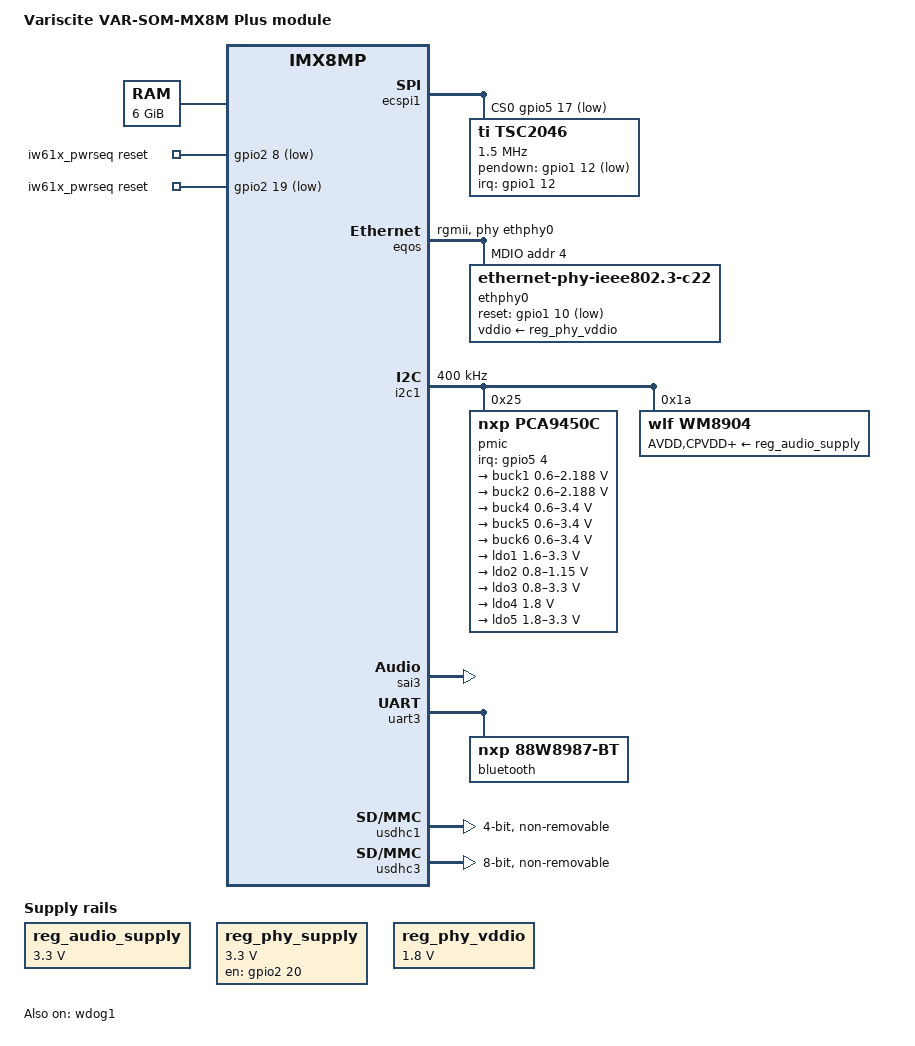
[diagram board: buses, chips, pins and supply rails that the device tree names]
// SPDX-License-Identifier: (GPL-2.0+ OR MIT)
/*
 * Copyright 2024 Variscite Ltd.
 *
 * Author: Tarang Raval <tarang.raval@siliconsignals.io>
 */

/dts-v1/;

#include <dt-bindings/phy/phy-imx8-pcie.h>
#include <dt-bindings/leds/common.h>
#include <dt-bindings/usb/pd.h>
#include "imx8mp.dtsi"

/ {
	model = "Variscite VAR-SOM-MX8M Plus module";

	memory@40000000 {
		device_type = "memory";
		reg = <0x0 0x40000000 0 0xc0000000>,
		      <0x1 0x00000000 0 0xc0000000>;
	};

	iw61x_pwrseq: wifi-pwrseq {
		compatible = "mmc-pwrseq-simple";
		post-power-on-delay-ms = <100>;
		power-off-delay-us = <10000>;
		reset-gpios = <&gpio2 8 GPIO_ACTIVE_LOW>, /* WIFI_RESET */
			      <&gpio2 19 GPIO_ACTIVE_LOW>; /* WIFI_PWR_EN */
	};

	reg_audio_supply: regulator-3p3v {
		compatible = "regulator-fixed";
		regulator-name = "wm8904-supply";
		regulator-min-microvolt = <3300000>;
		regulator-max-microvolt = <3300000>;
		regulator-always-on;
	};

	reg_phy_supply: regulator-phy-supply {
		compatible = "regulator-fixed";
		regulator-name = "phy-supply";
		regulator-min-microvolt = <3300000>;
		regulator-max-microvolt = <3300000>;
		regulator-enable-ramp-delay = <20000>;
		gpio = <&gpio2 20 GPIO_ACTIVE_HIGH>;
		enable-active-high;
		regulator-always-on;
	};

	reg_phy_vddio: regulator-phy-vddio {
		compatible = "regulator-fixed";
		regulator-name = "vddio-1v8";
		regulator-min-microvolt = <1800000>;
		regulator-max-microvolt = <1800000>;
	};

	sound {
		compatible = "simple-audio-card";
		simple-audio-card,bitclock-master = <&codec_dai>;
		simple-audio-card,format = "i2s";
		simple-audio-card,frame-master = <&codec_dai>;
		simple-audio-card,mclk-fs = <256>;
		simple-audio-card,name = "wm8904-audio";
		simple-audio-card,routing =
			"Headphone Jack", "HPOUTL",
			"Headphone Jack", "HPOUTR",
			"IN2L", "Line In Jack",
			"IN2R", "Line In Jack",
			"IN1L", "Microphone Jack",
			"IN1R", "Microphone Jack";
		simple-audio-card,widgets =
			"Microphone", "Microphone Jack",
			"Headphone", "Headphone Jack",
			"Line", "Line In Jack";

		codec_dai: simple-audio-card,codec {
			sound-dai = <&wm8904>;
		};

		simple-audio-card,cpu {
			sound-dai = <&sai3>;
		};
	};
};

&A53_0 {
	cpu-supply = <&buck2>;
};

&A53_1 {
	cpu-supply = <&buck2>;
};

&A53_2 {
	cpu-supply = <&buck2>;
};

&A53_3 {
	cpu-supply = <&buck2>;
};

&ecspi1 {
	pinctrl-names = "default";
	pinctrl-0 = <&pinctrl_ecspi1>;
	cs-gpios = <&gpio5 17 GPIO_ACTIVE_LOW>;
	status = "okay";

	/* Resistive touch controller */
	tsc2046: touchscreen@0 {
		compatible = "ti,tsc2046";
		reg = <0>;
		pinctrl-names = "default";
		pinctrl-0 = <&pinctrl_restouch>;
		interrupt-parent = <&gpio1>;
		interrupts = <12 IRQ_TYPE_EDGE_FALLING>;
		spi-max-frequency = <1500000>;
		pendown-gpio = <&gpio1 12 GPIO_ACTIVE_LOW>;
		ti,x-min = /bits/ 16 <125>;
		ti,x-max = /bits/ 16 <4008>;
		ti,y-min = /bits/ 16 <282>;
		ti,y-max = /bits/ 16 <3864>;
		ti,x-plate-ohms = /bits/ 16 <180>;
		ti,pressure-max = /bits/ 16 <255>;
		ti,debounce-max = /bits/ 16 <10>;
		ti,debounce-tol = /bits/ 16 <3>;
		ti,debounce-rep = /bits/ 16 <1>;
		ti,settle-delay-usec = /bits/ 16 <150>;
		ti,keep-vref-on;
		wakeup-source;
	};
};

&eqos {
	pinctrl-names = "default";
	pinctrl-0 = <&pinctrl_eqos>;
	/*
	 * The required RGMII TX and RX 2ns delays are implemented directly
	 * in hardware via passive delay elements on the SOM PCB.
	 * No delay configuration is needed in software via PHY driver.
	 */
	phy-mode = "rgmii";
	phy-handle = <&ethphy0>;
	status = "okay";

	mdio {
		compatible = "snps,dwmac-mdio";
		#address-cells = <1>;
		#size-cells = <0>;

		ethphy0: ethernet-phy@4 {
			compatible = "ethernet-phy-ieee802.3-c22";
			reg = <4>;
			reset-gpios = <&gpio1 10 GPIO_ACTIVE_LOW>;
			reset-assert-us = <10000>;
			reset-deassert-us = <100000>;
			vddio-supply = <&reg_phy_vddio>;

			leds {
				#address-cells = <1>;
				#size-cells = <0>;

				led@0 {
					reg = <0>;
					color = <LED_COLOR_ID_YELLOW>;
					function = LED_FUNCTION_LAN;
					linux,default-trigger = "netdev";
				};

				led@1 {
					reg = <1>;
					color = <LED_COLOR_ID_GREEN>;
					function = LED_FUNCTION_LAN;
					linux,default-trigger = "netdev";
				};
			};
		};
	};
};

&i2c1 {
	clock-frequency = <400000>;
	pinctrl-names = "default";
	pinctrl-0 = <&pinctrl_i2c1>;
	status = "okay";

	pmic@25 {
		compatible = "nxp,pca9450c";
		reg = <0x25>;
		pinctrl-names = "default";
		pinctrl-0 = <&pinctrl_pmic>;
		interrupt-parent = <&gpio5>;
		interrupts = <4 IRQ_TYPE_LEVEL_LOW>;

		regulators {
			buck1: BUCK1 {
				regulator-name = "BUCK1";
				regulator-min-microvolt = <600000>;
				regulator-max-microvolt = <2187500>;
				regulator-boot-on;
				regulator-always-on;
				regulator-ramp-delay = <3125>;
			};

			buck2: BUCK2 {
				regulator-name = "BUCK2";
				regulator-min-microvolt = <600000>;
				regulator-max-microvolt = <2187500>;
				regulator-boot-on;
				regulator-always-on;
				regulator-ramp-delay = <3125>;
				nxp,dvs-run-voltage = <950000>;
				nxp,dvs-standby-voltage = <850000>;
			};

			buck4: BUCK4 {
				regulator-name = "BUCK4";
				regulator-min-microvolt = <600000>;
				regulator-max-microvolt = <3400000>;
				regulator-boot-on;
				regulator-always-on;
			};

			buck5: BUCK5 {
				regulator-name = "BUCK5";
				regulator-min-microvolt = <600000>;
				regulator-max-microvolt = <3400000>;
				regulator-boot-on;
				regulator-always-on;
			};

			buck6: BUCK6 {
				regulator-name = "BUCK6";
				regulator-min-microvolt = <600000>;
				regulator-max-microvolt = <3400000>;
				regulator-boot-on;
				regulator-always-on;
			};

			ldo1: LDO1 {
				regulator-name = "LDO1";
				regulator-min-microvolt = <1600000>;
				regulator-max-microvolt = <3300000>;
				regulator-boot-on;
				regulator-always-on;
			};

			ldo2: LDO2 {
				regulator-name = "LDO2";
				regulator-min-microvolt = <800000>;
				regulator-max-microvolt = <1150000>;
				regulator-boot-on;
				regulator-always-on;
			};

			ldo3: LDO3 {
				regulator-name = "LDO3";
				regulator-min-microvolt = <800000>;
				regulator-max-microvolt = <3300000>;
				regulator-boot-on;
				regulator-always-on;
			};

			ldo4: LDO4 {
				regulator-name = "LDO4";
				regulator-min-microvolt = <1800000>;
				regulator-max-microvolt = <1800000>;
				regulator-always-on;
			};

			ldo5: LDO5 {
				regulator-name = "LDO5";
				regulator-min-microvolt = <1800000>;
				regulator-max-microvolt = <3300000>;
			};
		};
	};

	wm8904: audio-codec@1a {
		compatible = "wlf,wm8904";
		reg = <0x1a>;
		#sound-dai-cells = <0>;
		clocks = <&audio_blk_ctrl IMX8MP_CLK_AUDIOMIX_SAI3_MCLK1>;
		clock-names = "mclk";
		AVDD-supply = <&reg_audio_supply>;
		CPVDD-supply = <&reg_audio_supply>;
		DBVDD-supply = <&reg_audio_supply>;
		DCVDD-supply = <&reg_audio_supply>;
		MICVDD-supply = <&reg_audio_supply>;
		wlf,drc-cfg-names = "default", "peaklimiter", "tradition",
				    "soft", "music";
		/*
		 * Config registers per name, respectively:
		 * KNEE_IP = 0,   KNEE_OP = 0,     HI_COMP = 1,   LO_COMP = 1
		 * KNEE_IP = -24, KNEE_OP = -6,    HI_COMP = 1/4, LO_COMP = 1
		 * KNEE_IP = -42, KNEE_OP = -3,    HI_COMP = 0,   LO_COMP = 1
		 * KNEE_IP = -45, KNEE_OP = -9,    HI_COMP = 1/8, LO_COMP = 1
		 * KNEE_IP = -30, KNEE_OP = -10.5, HI_COMP = 1/4, LO_COMP = 1
		 */
		wlf,drc-cfg-regs = /bits/ 16 <0x01af 0x3248 0x0000 0x0000>,
				   /bits/ 16 <0x04af 0x324b 0x0010 0x0408>,
				   /bits/ 16 <0x04af 0x324b 0x0028 0x0704>,
				   /bits/ 16 <0x04af 0x324b 0x0018 0x078c>,
				   /bits/ 16 <0x04af 0x324b 0x0010 0x050e>;
		/* GPIO1 = DMIC_CLK, don't touch others */
		wlf,gpio-cfg = <0x0018>, <0xffff>, <0xffff>, <0xffff>;
	};
};

&sai3 {
	pinctrl-names = "default";
	pinctrl-0 = <&pinctrl_sai3>;
	assigned-clocks = <&clk IMX8MP_CLK_SAI3>;
	assigned-clock-parents = <&clk IMX8MP_AUDIO_PLL1_OUT>;
	assigned-clock-rates = <11536000>;
	clocks = <&audio_blk_ctrl IMX8MP_CLK_AUDIOMIX_SAI3_IPG>,
		<&clk IMX8MP_CLK_DUMMY>,
		<&audio_blk_ctrl IMX8MP_CLK_AUDIOMIX_SAI3_MCLK1>,
		<&clk IMX8MP_CLK_DUMMY>,
		<&clk IMX8MP_CLK_DUMMY>;
	clock-names = "bus", "mclk0", "mclk1", "mclk2", "mclk3";
	fsl,sai-mclk-direction-output;
	status = "okay";
};

/* BT */
&uart3 {
	pinctrl-names = "default";
	pinctrl-0 = <&pinctrl_uart3>, <&pinctrl_bluetooth>;
	assigned-clocks = <&clk IMX8MP_CLK_UART3>;
	assigned-clock-parents = <&clk IMX8MP_SYS_PLL1_80M>;
	uart-has-rtscts;
	status = "okay";

	bluetooth {
		compatible = "nxp,88w8987-bt";
	};
};

/* WIFI */
&usdhc1 {
	pinctrl-names = "default", "state_100mhz", "state_200mhz";
	pinctrl-0 = <&pinctrl_usdhc1>, <&pinctrl_wifi>;
	pinctrl-1 = <&pinctrl_usdhc1_100mhz>, <&pinctrl_wifi>;
	pinctrl-2 = <&pinctrl_usdhc1_200mhz>, <&pinctrl_wifi>;
	bus-width = <4>;
	non-removable;
	keep-power-in-suspend;
	mmc-pwrseq = <&iw61x_pwrseq>;
	status = "okay";
};

/* eMMC */
&usdhc3 {
	pinctrl-names = "default", "state_100mhz", "state_200mhz";
	pinctrl-0 = <&pinctrl_usdhc3>;
	pinctrl-1 = <&pinctrl_usdhc3_100mhz>;
	pinctrl-2 = <&pinctrl_usdhc3_200mhz>;
	bus-width = <8>;
	non-removable;
	status = "okay";
};

&wdog1 {
	pinctrl-names = "default";
	pinctrl-0 = <&pinctrl_wdog>;
	fsl,ext-reset-output;
	status = "okay";
};

&iomuxc {

	pinctrl_bluetooth: bluetoothgrp {
		fsl,pins = <
			MX8MP_IOMUXC_SD1_DATA7__GPIO2_IO09                              0xc0
			MX8MP_IOMUXC_GPIO1_IO04__GPIO1_IO04                             0xc0
			MX8MP_IOMUXC_SD1_RESET_B__GPIO2_IO10                            0xc0
		>;
	};

	pinctrl_ecspi1: ecspi1grp {
		fsl,pins = <
			MX8MP_IOMUXC_I2C1_SCL__ECSPI1_SCLK                              0x12
			MX8MP_IOMUXC_I2C1_SDA__ECSPI1_MOSI                              0x12
			MX8MP_IOMUXC_I2C2_SCL__ECSPI1_MISO                              0x12
			MX8MP_IOMUXC_I2C2_SDA__GPIO5_IO17                               0x12
		>;
	};

	pinctrl_eqos: eqosgrp {
		fsl,pins = <
			MX8MP_IOMUXC_ENET_MDC__ENET_QOS_MDC				0x2
			MX8MP_IOMUXC_ENET_MDIO__ENET_QOS_MDIO				0x2
			MX8MP_IOMUXC_ENET_RD0__ENET_QOS_RGMII_RD0			0x90
			MX8MP_IOMUXC_ENET_RD1__ENET_QOS_RGMII_RD1			0x90
			MX8MP_IOMUXC_ENET_RD2__ENET_QOS_RGMII_RD2			0x90
			MX8MP_IOMUXC_ENET_RD3__ENET_QOS_RGMII_RD3			0x90
			MX8MP_IOMUXC_ENET_RXC__CCM_ENET_QOS_CLOCK_GENERATE_RX_CLK	0x90
			MX8MP_IOMUXC_ENET_RX_CTL__ENET_QOS_RGMII_RX_CTL			0x90
			MX8MP_IOMUXC_ENET_TD0__ENET_QOS_RGMII_TD0			0x16
			MX8MP_IOMUXC_ENET_TD1__ENET_QOS_RGMII_TD1			0x16
			MX8MP_IOMUXC_ENET_TD2__ENET_QOS_RGMII_TD2			0x16
			MX8MP_IOMUXC_ENET_TD3__ENET_QOS_RGMII_TD3			0x16
			MX8MP_IOMUXC_ENET_TX_CTL__ENET_QOS_RGMII_TX_CTL			0x16
			MX8MP_IOMUXC_ENET_TXC__CCM_ENET_QOS_CLOCK_GENERATE_TX_CLK	0x16
			MX8MP_IOMUXC_SD2_WP__GPIO2_IO20					0x10
			MX8MP_IOMUXC_GPIO1_IO10__GPIO1_IO10				0x150
		>;
	};

	pinctrl_i2c1: i2c1grp {
		fsl,pins = <
			MX8MP_IOMUXC_SD1_DATA4__I2C1_SCL				0x400001c2
			MX8MP_IOMUXC_SD1_DATA5__I2C1_SDA				0x400001c2
		>;
	};

	pinctrl_pmic: pmicgrp {
		fsl,pins = <
			MX8MP_IOMUXC_SPDIF_RX__GPIO5_IO04				0x1c0
		>;
	};

	pinctrl_restouch: restouchgrp {
		fsl,pins = <
			MX8MP_IOMUXC_GPIO1_IO12__GPIO1_IO12                             0xc0
		>;
	};

	pinctrl_sai3: sai3grp {
		fsl,pins = <
			MX8MP_IOMUXC_SAI3_TXFS__AUDIOMIX_SAI3_TX_SYNC                   0xd6
			MX8MP_IOMUXC_SAI3_TXC__AUDIOMIX_SAI3_TX_BCLK                    0xd6
			MX8MP_IOMUXC_SAI3_RXD__AUDIOMIX_SAI3_RX_DATA00                  0xd6
			MX8MP_IOMUXC_SAI3_TXD__AUDIOMIX_SAI3_TX_DATA00                  0xd6
			MX8MP_IOMUXC_SAI3_MCLK__AUDIOMIX_SAI3_MCLK                      0xd6
			MX8MP_IOMUXC_SAI3_RXFS__AUDIOMIX_SAI3_RX_SYNC                   0xd6
			MX8MP_IOMUXC_SAI3_RXC__AUDIOMIX_SAI3_RX_BCLK                    0xd6
		>;
	};

	pinctrl_uart3: uart3grp {
		fsl,pins = <
			MX8MP_IOMUXC_ECSPI1_SCLK__UART3_DCE_RX                          0x140
			MX8MP_IOMUXC_ECSPI1_MOSI__UART3_DCE_TX                          0x140
			MX8MP_IOMUXC_ECSPI1_MISO__UART3_DCE_CTS                         0x140
			MX8MP_IOMUXC_ECSPI1_SS0__UART3_DCE_RTS                          0x140
		>;
	};

	pinctrl_usdhc1: usdhc1grp {
		fsl,pins = <
			MX8MP_IOMUXC_SD1_CLK__USDHC1_CLK                                0x190
			MX8MP_IOMUXC_SD1_CMD__USDHC1_CMD                                0x1d0
			MX8MP_IOMUXC_SD1_DATA0__USDHC1_DATA0                            0x1d0
			MX8MP_IOMUXC_SD1_DATA1__USDHC1_DATA1                            0x1d0
			MX8MP_IOMUXC_SD1_DATA2__USDHC1_DATA2                            0x1d0
			MX8MP_IOMUXC_SD1_DATA3__USDHC1_DATA3                            0x1d0
		>;
	};

	pinctrl_usdhc1_100mhz: usdhc1-100mhzgrp {
		fsl,pins = <
			MX8MP_IOMUXC_SD1_CLK__USDHC1_CLK                                0x194
			MX8MP_IOMUXC_SD1_CMD__USDHC1_CMD                                0x1d4
			MX8MP_IOMUXC_SD1_DATA0__USDHC1_DATA0                            0x1d4
			MX8MP_IOMUXC_SD1_DATA1__USDHC1_DATA1                            0x1d4
			MX8MP_IOMUXC_SD1_DATA2__USDHC1_DATA2                            0x1d4
			MX8MP_IOMUXC_SD1_DATA3__USDHC1_DATA3                            0x1d4
		>;
	};

	pinctrl_usdhc1_200mhz: usdhc1-200mhzgrp {
		fsl,pins = <
			MX8MP_IOMUXC_SD1_CLK__USDHC1_CLK                                0x196
			MX8MP_IOMUXC_SD1_CMD__USDHC1_CMD                                0x1d6
			MX8MP_IOMUXC_SD1_DATA0__USDHC1_DATA0                            0x1d6
			MX8MP_IOMUXC_SD1_DATA1__USDHC1_DATA1                            0x1d6
			MX8MP_IOMUXC_SD1_DATA2__USDHC1_DATA2                            0x1d6
			MX8MP_IOMUXC_SD1_DATA3__USDHC1_DATA3                            0x1d6
		>;
	};

	pinctrl_usdhc3: usdhc3grp {
		fsl,pins = <
			MX8MP_IOMUXC_NAND_WE_B__USDHC3_CLK				0x190
			MX8MP_IOMUXC_NAND_WP_B__USDHC3_CMD				0x1d0
			MX8MP_IOMUXC_NAND_DATA04__USDHC3_DATA0				0x1d0
			MX8MP_IOMUXC_NAND_DATA05__USDHC3_DATA1				0x1d0
			MX8MP_IOMUXC_NAND_DATA06__USDHC3_DATA2				0x1d0
			MX8MP_IOMUXC_NAND_DATA07__USDHC3_DATA3				0x1d0
			MX8MP_IOMUXC_NAND_RE_B__USDHC3_DATA4				0x1d0
			MX8MP_IOMUXC_NAND_CE2_B__USDHC3_DATA5				0x1d0
			MX8MP_IOMUXC_NAND_CE3_B__USDHC3_DATA6				0x1d0
			MX8MP_IOMUXC_NAND_CLE__USDHC3_DATA7				0x1d0
			MX8MP_IOMUXC_NAND_CE1_B__USDHC3_STROBE				0x190
		>;
	};

	pinctrl_usdhc3_100mhz: usdhc3-100mhzgrp {
		fsl,pins = <
			MX8MP_IOMUXC_NAND_WE_B__USDHC3_CLK				0x194
			MX8MP_IOMUXC_NAND_WP_B__USDHC3_CMD				0x1d4
			MX8MP_IOMUXC_NAND_DATA04__USDHC3_DATA0				0x1d4
			MX8MP_IOMUXC_NAND_DATA05__USDHC3_DATA1				0x1d4
			MX8MP_IOMUXC_NAND_DATA06__USDHC3_DATA2				0x1d4
			MX8MP_IOMUXC_NAND_DATA07__USDHC3_DATA3				0x1d4
			MX8MP_IOMUXC_NAND_RE_B__USDHC3_DATA4				0x1d4
			MX8MP_IOMUXC_NAND_CE2_B__USDHC3_DATA5				0x1d4
			MX8MP_IOMUXC_NAND_CE3_B__USDHC3_DATA6				0x1d4
			MX8MP_IOMUXC_NAND_CLE__USDHC3_DATA7				0x1d4
			MX8MP_IOMUXC_NAND_CE1_B__USDHC3_STROBE				0x194
		>;
	};

	pinctrl_usdhc3_200mhz: usdhc3-200mhzgrp {
		fsl,pins = <
			MX8MP_IOMUXC_NAND_WE_B__USDHC3_CLK				0x196
			MX8MP_IOMUXC_NAND_WP_B__USDHC3_CMD				0x1d6
			MX8MP_IOMUXC_NAND_DATA04__USDHC3_DATA0				0x1d6
			MX8MP_IOMUXC_NAND_DATA05__USDHC3_DATA1				0x1d6
			MX8MP_IOMUXC_NAND_DATA06__USDHC3_DATA2				0x1d6
			MX8MP_IOMUXC_NAND_DATA07__USDHC3_DATA3				0x1d6
			MX8MP_IOMUXC_NAND_RE_B__USDHC3_DATA4				0x1d6
			MX8MP_IOMUXC_NAND_CE2_B__USDHC3_DATA5				0x1d6
			MX8MP_IOMUXC_NAND_CE3_B__USDHC3_DATA6				0x1d6
			MX8MP_IOMUXC_NAND_CLE__USDHC3_DATA7				0x1d6
			MX8MP_IOMUXC_NAND_CE1_B__USDHC3_STROBE				0x196
		>;
	};

	pinctrl_wdog: wdoggrp {
		fsl,pins = <
			MX8MP_IOMUXC_GPIO1_IO02__WDOG1_WDOG_B				0xc6
		>;
	};

	pinctrl_wifi: wifigrp {
		fsl,pins = <
			MX8MP_IOMUXC_SD1_DATA6__GPIO2_IO08                              0xc0
			MX8MP_IOMUXC_SD2_RESET_B__GPIO2_IO19                            0xc0
		>;
	};
};
